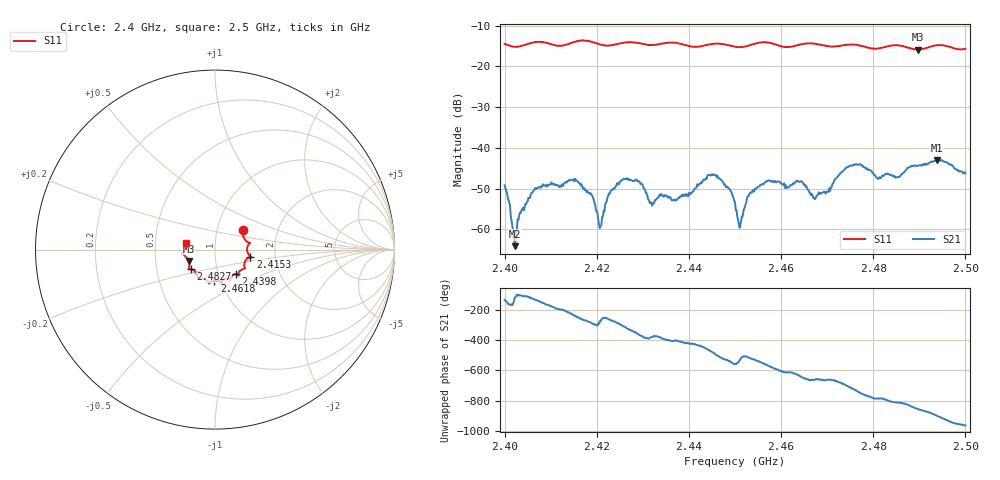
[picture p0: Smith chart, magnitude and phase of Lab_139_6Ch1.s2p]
# Hz S RI R 50
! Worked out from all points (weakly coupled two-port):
!   601 points, 2.4 GHz to 2.5 GHz, reference 50 ohm
!   highest |S21| = -42.97 dB at 2.4938 GHz (marker M1); lowest = -64.1 dB at 2.4022 GHz (marker M2)
!   lowest |S11| = -15.9 dB at 2.4897 GHz (marker M3), VSWR 1.38, Z = 36.9 - j4.84 ohm
!   |S11| at or under -10 dB: start of sweep to end of sweep
!   S12 and S22 are empty: the file has one direction only
!   S11 on the Smith chart (normalised r, x): 2.4 GHz: 1.33, +0.29; 2.4153 GHz: 1.49, -0.12; 2.4398 GHz: 1.21, -0.34; 2.4618 GHz: 0.94, -0.33; 2.4827 GHz: 0.75, -0.17; 2.5 GHz: 0.72, +0.06
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2.4e9  0.155 0.1068  -0.0023 -0.0026  0 0  0 0
2.402167e9  0.1582 0.0718  -0.000316 -0.000534  0 0  0 0
2.4065e9  0.1942 0.0378  -0.00191 -0.00239  0 0  0 0
2.415333e9  0.1972 -0.039  -0.00216 0.00355  0 0  0 0
2.416667e9  0.2029 -0.0433  -0.000681 0.00351  0 0  0 0
2.420833e9  0.1771 -0.0521  5.02e-05 0.0011  0 0  0 0
2.422833e9  0.1639 -0.0747  -0.000295 0.00273  0 0  0 0
2.425833e9  0.1666 -0.1016  0.00259 0.0033  0 0  0 0
2.433333e9  0.1298 -0.134  0.00234 -0.000689  0 0  0 0
2.439833e9  0.1151 -0.136  0.00129 -0.0022  0 0  0 0
2.445333e9  0.0835 -0.1695  -0.0027 -0.00387  0 0  0 0
2.45e9  0.0651 -0.1616  -0.00206 0.000687  0 0  0 0
2.451167e9  0.0524 -0.1636  -0.00109 -0.000303  0 0  0 0
2.455167e9  0.0366 -0.1913  -0.00335 -5.35e-05  0 0  0 0
2.461833e9  -0.00295 -0.1729  -0.00091 0.00321  0 0  0 0
2.466667e9  -0.0346 -0.1882  0.00144 0.0023  0 0  0 0
2.475167e9  -0.0937 -0.1598  0.00603 0.000341  0 0  0 0
2.482667e9  -0.135 -0.1089  0.00138 -0.00459  0 0  0 0
2.483333e9  -0.1401 -0.1083  0.000603 -0.00473  0 0  0 0
2.489667e9  -0.1471 -0.0639  -0.0043 -0.00416  0 0  0 0
2.493833e9  -0.1805 -0.0229  -0.0071 0.000299  0 0  0 0
2.5e9  -0.1595 0.039  -0.00198 0.00442  0 0  0 0
